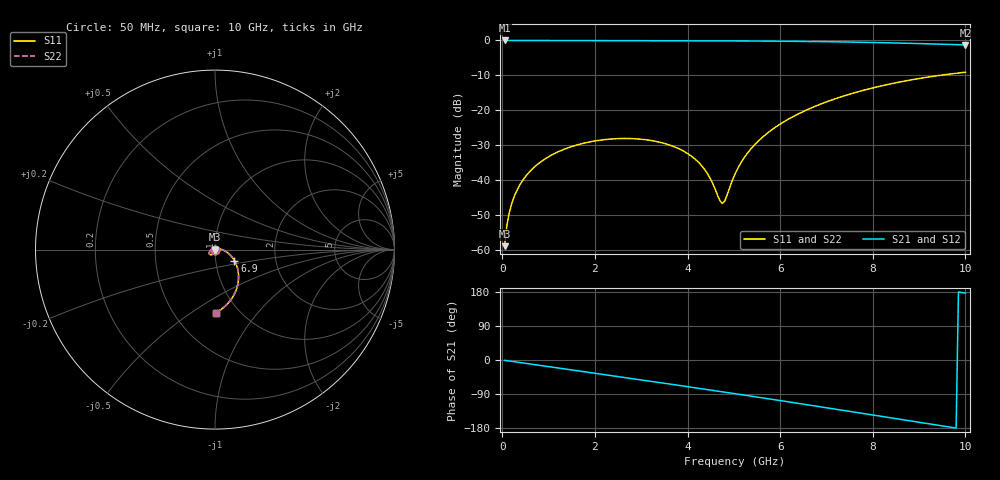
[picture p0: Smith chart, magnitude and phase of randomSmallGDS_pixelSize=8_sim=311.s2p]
! freq	dB(S11)	phase(S11)	dB(S12)	phase(S12)
!  dB(S21)	phase(S21)	dB(S22)	phase(S22)
!S-par simulation data
#  GHz  S  DB  R 50
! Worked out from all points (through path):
!   200 points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, 50 MHz to 10 GHz, reference 50 ohm
!   highest |S21| = 0.00 dB at 50 MHz (marker M1); lowest = -1.3 dB at 10 GHz (marker M2)
!   group delay of S21, straight-line fit = 51 ps
!   lowest |S11| = -58.9 dB at 50 MHz (marker M3), VSWR 1.00, Z = 50 - j0.113 ohm
!   |S11| at or under -10 dB: start of sweep to 9.444 GHz
!   |S22| runs from -58.9 to -9.1 dB; largest |S21 - S12| = 0
!   S11 on the Smith chart (normalised r, x): 50 MHz: 1.00, -0.00; 6.9 GHz: 1.23, -0.15; 10 GHz: 0.79, -0.63
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0.05  -58.90 -89.7  -0.00 -0.9  -0.00 -0.9  -58.90 -89.7
0.1  -52.88 -91.3  -0.00 -1.8  -0.00 -1.8  -52.88 -91.3
0.2  -46.87 -93.6  -0.00 -3.5  -0.00 -3.5  -46.87 -93.6
0.35  -42.03 -96.5  -0.01 -6.2  -0.01 -6.2  -42.03 -96.5
0.5  -38.98 -99.4  -0.01 -8.8  -0.01 -8.8  -38.98 -99.4
1  -33.29 -108.6  -0.02 -17.5  -0.02 -17.5  -33.29 -108.6
1.75  -29.45 -122.4  -0.04 -30.6  -0.04 -30.6  -29.45 -122.4
2.6  -28.07 -138.2  -0.06 -45.5  -0.06 -45.5  -28.07 -138.1
3.4  -29.14 -154.0  -0.08 -59.6  -0.08 -59.6  -29.14 -154.0
3.85  -31.24 -164.3  -0.09 -67.6  -0.09 -67.6  -31.24 -164.3
4.2  -34.41 -175.0  -0.10 -73.9  -0.10 -73.9  -34.42 -175.0
4.45  -38.57 171.4  -0.11 -78.4  -0.11 -78.4  -38.57 171.4
4.75  -46.66 100.2  -0.12 -83.9  -0.12 -83.9  -46.68 100.2
4.8  -46.05 76.2  -0.12 -84.8  -0.12 -84.8  -46.07 76.1
5.05  -37.56 23.4  -0.14 -89.4  -0.14 -89.4  -37.56 23.4
5.3  -32.16 9.3  -0.15 -94.0  -0.15 -94.0  -32.16 9.2
5.65  -27.34 -1.9  -0.18 -100.5  -0.18 -100.5  -27.34 -1.9
6.7  -19.15 -25.4  -0.30 -120.3  -0.30 -120.3  -19.15 -25.4
6.9  -18.08 -29.5  -0.33 -124.1  -0.33 -124.1  -18.08 -29.5
8.35  -12.53 -58.0  -0.68 -151.9  -0.68 -151.9  -12.53 -58.0
9.15  -10.57 -73.2  -0.94 -167.3  -0.94 -167.3  -10.57 -73.2
10  -9.10 -89.0  -1.27 176.6  -1.27 176.6  -9.10 -89.0
